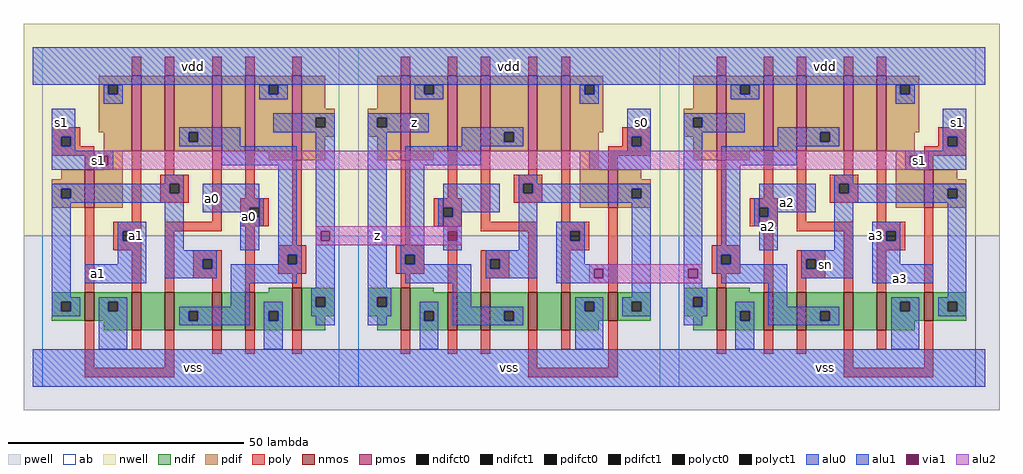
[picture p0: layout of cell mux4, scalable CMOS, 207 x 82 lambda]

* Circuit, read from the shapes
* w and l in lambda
.subckt mux4 a0 a1 a2 a3 s0 s1 sn vdd vss z
M1 vss s1 n1 VSUBS nfet w=6 l=2
M2 n2 a1 vss VSUBS nfet w=8 l=2
M3 n3 s1 n2 VSUBS nfet w=8 l=2
M4 n4 n1 n3 VSUBS nfet w=8 l=2
M5 vss a0 n4 VSUBS nfet w=8 l=2
M6 n5 n3 vss VSUBS nfet w=9 l=2
M7 vss n6 z VSUBS nfet w=9 l=2
M8 n7 n5 vss VSUBS nfet w=8 l=2
M9 n6 n8 n7 VSUBS nfet w=8 l=2
M10 n9 s0 n6 VSUBS nfet w=8 l=2
M11 vss n10 n9 VSUBS nfet w=8 l=2
M12 n8 s0 vss VSUBS nfet w=6 l=2
M13 vss n11 n10 VSUBS nfet w=9 l=2
M14 n12 a2 vss VSUBS nfet w=8 l=2
M15 n11 sn n12 VSUBS nfet w=8 l=2
M16 n13 s1 n11 VSUBS nfet w=8 l=2
M17 vss a3 n13 VSUBS nfet w=8 l=2
M18 sn s1 vss VSUBS nfet w=6 l=2
M19 vdd s1 n1 n14 pfet w=8 l=2
M20 n15 a1 vdd n14 pfet w=16 l=2
M21 n3 n1 n15 n14 pfet w=16 l=2
M22 n16 s1 n3 n14 pfet w=16 l=2
M23 vdd a0 n16 n14 pfet w=16 l=2
M24 n5 n3 vdd n14 pfet w=18 l=2
M25 vdd n6 z n14 pfet w=18 l=2
M26 n17 n5 vdd n14 pfet w=16 l=2
M27 n6 s0 n17 n14 pfet w=16 l=2
M28 n18 n8 n6 n14 pfet w=16 l=2
M29 vdd n10 n18 n14 pfet w=16 l=2
M30 n8 s0 vdd n14 pfet w=8 l=2
M31 vdd n11 n10 n14 pfet w=18 l=2
M32 n19 a2 vdd n14 pfet w=16 l=2
M33 n11 s1 n19 n14 pfet w=16 l=2
M34 n20 sn n11 n14 pfet w=16 l=2
M35 vdd a3 n20 n14 pfet w=16 l=2
M36 sn s1 vdd n14 pfet w=8 l=2
.ends

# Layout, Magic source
magic
tech scmos
<< ab >>
rect -63 5 0 77
rect 4 5 68 77
rect 72 5 135 77
<< nwell >>
rect -67 37 140 82
<< pwell >>
rect -67 0 140 37
<< poly >>
rect -44 71 -42 75
rect -37 71 -35 75
rect -27 71 -25 75
rect -20 71 -18 75
rect -10 71 -8 75
rect 13 71 15 75
rect 23 71 25 75
rect 30 71 32 75
rect 40 71 42 75
rect 47 71 49 75
rect 80 71 82 75
rect 90 71 92 75
rect 97 71 99 75
rect 107 71 109 75
rect 114 71 116 75
rect -61 58 -55 60
rect -61 56 -59 58
rect -57 56 -55 58
rect -61 54 -52 56
rect -54 51 -52 54
rect -54 25 -52 43
rect -44 40 -42 55
rect -37 50 -35 55
rect -38 48 -32 50
rect -38 46 -36 48
rect -34 46 -32 48
rect -38 44 -32 46
rect -27 40 -25 55
rect -20 45 -18 55
rect 60 58 66 60
rect 60 56 62 58
rect 64 56 66 58
rect -48 38 -42 40
rect -48 36 -46 38
rect -44 36 -42 38
rect -48 34 -42 36
rect -44 25 -42 34
rect -37 38 -25 40
rect -21 43 -15 45
rect -21 41 -19 43
rect -17 41 -15 43
rect -21 39 -15 41
rect -37 25 -35 38
rect -31 32 -25 34
rect -31 30 -29 32
rect -27 30 -25 32
rect -31 28 -25 30
rect -27 25 -25 28
rect -20 25 -18 39
rect -10 35 -8 53
rect 13 35 15 53
rect 23 45 25 55
rect 20 43 26 45
rect 20 41 22 43
rect 24 41 26 43
rect 20 39 26 41
rect 30 40 32 55
rect 40 50 42 55
rect 37 48 43 50
rect 37 46 39 48
rect 41 46 43 48
rect 37 44 43 46
rect 47 40 49 55
rect 57 54 66 56
rect 57 51 59 54
rect 127 58 133 60
rect 127 56 129 58
rect 131 56 133 58
rect -13 33 -7 35
rect -13 31 -11 33
rect -9 31 -7 33
rect -13 29 -7 31
rect 12 33 18 35
rect 12 31 14 33
rect 16 31 18 33
rect 12 29 18 31
rect -10 26 -8 29
rect 13 26 15 29
rect -54 9 -52 19
rect 23 25 25 39
rect 30 38 42 40
rect 30 32 36 34
rect 30 30 32 32
rect 34 30 36 32
rect 30 28 36 30
rect 30 25 32 28
rect 40 25 42 38
rect 47 38 53 40
rect 47 36 49 38
rect 51 36 53 38
rect 47 34 53 36
rect 47 25 49 34
rect 57 25 59 43
rect 80 35 82 53
rect 90 45 92 55
rect 87 43 93 45
rect 87 41 89 43
rect 91 41 93 43
rect 87 39 93 41
rect 97 40 99 55
rect 107 50 109 55
rect 104 48 110 50
rect 104 46 106 48
rect 108 46 110 48
rect 104 44 110 46
rect 114 40 116 55
rect 124 54 133 56
rect 124 51 126 54
rect 79 33 85 35
rect 79 31 81 33
rect 83 31 85 33
rect 79 29 85 31
rect 80 26 82 29
rect -44 13 -42 17
rect -37 9 -35 17
rect -27 12 -25 17
rect -20 12 -18 17
rect -10 12 -8 17
rect 13 12 15 17
rect 23 12 25 17
rect 30 12 32 17
rect -54 7 -35 9
rect 40 9 42 17
rect 47 13 49 17
rect 57 9 59 19
rect 90 25 92 39
rect 97 38 109 40
rect 97 32 103 34
rect 97 30 99 32
rect 101 30 103 32
rect 97 28 103 30
rect 97 25 99 28
rect 107 25 109 38
rect 114 38 120 40
rect 114 36 116 38
rect 118 36 120 38
rect 114 34 120 36
rect 114 25 116 34
rect 124 25 126 43
rect 80 12 82 17
rect 90 12 92 17
rect 97 12 99 17
rect 40 7 59 9
rect 107 9 109 17
rect 114 13 116 17
rect 124 9 126 19
rect 107 7 126 9
<< ndif >>
rect -15 25 -10 26
rect -61 23 -54 25
rect -61 21 -59 23
rect -57 21 -54 23
rect -61 19 -54 21
rect -52 23 -44 25
rect -52 21 -49 23
rect -47 21 -44 23
rect -52 19 -44 21
rect -50 17 -44 19
rect -42 17 -37 25
rect -35 21 -27 25
rect -35 19 -32 21
rect -30 19 -27 21
rect -35 17 -27 19
rect -25 17 -20 25
rect -18 21 -10 25
rect -18 19 -15 21
rect -13 19 -10 21
rect -18 17 -10 19
rect -8 24 -1 26
rect -8 22 -5 24
rect -3 22 -1 24
rect -8 20 -1 22
rect 6 24 13 26
rect 6 22 8 24
rect 10 22 13 24
rect 6 20 13 22
rect -8 17 -3 20
rect 8 17 13 20
rect 15 25 20 26
rect 15 21 23 25
rect 15 19 18 21
rect 20 19 23 21
rect 15 17 23 19
rect 25 17 30 25
rect 32 21 40 25
rect 32 19 35 21
rect 37 19 40 21
rect 32 17 40 19
rect 42 17 47 25
rect 49 23 57 25
rect 49 21 52 23
rect 54 21 57 23
rect 49 19 57 21
rect 59 23 66 25
rect 59 21 62 23
rect 64 21 66 23
rect 59 19 66 21
rect 73 24 80 26
rect 73 22 75 24
rect 77 22 80 24
rect 73 20 80 22
rect 49 17 55 19
rect 75 17 80 20
rect 82 25 87 26
rect 82 21 90 25
rect 82 19 85 21
rect 87 19 90 21
rect 82 17 90 19
rect 92 17 97 25
rect 99 21 107 25
rect 99 19 102 21
rect 104 19 107 21
rect 99 17 107 19
rect 109 17 114 25
rect 116 23 124 25
rect 116 21 119 23
rect 121 21 124 23
rect 116 19 124 21
rect 126 23 133 25
rect 126 21 129 23
rect 131 21 133 23
rect 126 19 133 21
rect 116 17 122 19
<< pdif >>
rect -51 69 -44 71
rect -51 67 -49 69
rect -47 67 -44 69
rect -51 59 -44 67
rect -50 55 -44 59
rect -42 55 -37 71
rect -35 59 -27 71
rect -35 57 -32 59
rect -30 57 -27 59
rect -35 55 -27 57
rect -25 55 -20 71
rect -18 69 -10 71
rect -18 67 -15 69
rect -13 67 -10 69
rect -18 55 -10 67
rect -50 51 -46 55
rect -59 49 -54 51
rect -61 47 -54 49
rect -61 45 -59 47
rect -57 45 -54 47
rect -61 43 -54 45
rect -52 43 -46 51
rect -15 53 -10 55
rect -8 64 -3 71
rect 8 64 13 71
rect -8 62 -1 64
rect -8 60 -5 62
rect -3 60 -1 62
rect -8 58 -1 60
rect 6 62 13 64
rect 6 60 8 62
rect 10 60 13 62
rect 6 58 13 60
rect -8 53 -3 58
rect 8 53 13 58
rect 15 69 23 71
rect 15 67 18 69
rect 20 67 23 69
rect 15 55 23 67
rect 25 55 30 71
rect 32 59 40 71
rect 32 57 35 59
rect 37 57 40 59
rect 32 55 40 57
rect 42 55 47 71
rect 49 69 56 71
rect 49 67 52 69
rect 54 67 56 69
rect 49 59 56 67
rect 75 64 80 71
rect 73 62 80 64
rect 73 60 75 62
rect 77 60 80 62
rect 49 55 55 59
rect 73 58 80 60
rect 15 53 20 55
rect 51 51 55 55
rect 75 53 80 58
rect 82 69 90 71
rect 82 67 85 69
rect 87 67 90 69
rect 82 55 90 67
rect 92 55 97 71
rect 99 59 107 71
rect 99 57 102 59
rect 104 57 107 59
rect 99 55 107 57
rect 109 55 114 71
rect 116 69 123 71
rect 116 67 119 69
rect 121 67 123 69
rect 116 59 123 67
rect 116 55 122 59
rect 82 53 87 55
rect 51 43 57 51
rect 59 49 64 51
rect 59 47 66 49
rect 59 45 62 47
rect 64 45 66 47
rect 59 43 66 45
rect 118 51 122 55
rect 118 43 124 51
rect 126 49 131 51
rect 126 47 133 49
rect 126 45 129 47
rect 131 45 133 47
rect 126 43 133 45
<< alu1 >>
rect -65 69 137 77
rect -61 58 -56 64
rect -14 62 -1 63
rect -14 60 -5 62
rect -3 60 -1 62
rect -61 56 -59 58
rect -57 56 -56 58
rect -14 59 -1 60
rect -61 55 -56 56
rect -61 54 -48 55
rect -61 52 -51 54
rect -49 52 -48 54
rect -61 51 -48 52
rect -47 38 -41 40
rect -47 36 -46 38
rect -44 36 -41 38
rect -47 31 -41 36
rect -54 27 -41 31
rect -29 43 -17 48
rect -29 42 -19 43
rect -21 41 -19 42
rect -21 34 -17 41
rect -5 38 -1 59
rect -5 36 -4 38
rect -2 36 -1 38
rect -5 26 -1 36
rect -6 24 -1 26
rect -6 22 -5 24
rect -3 22 -1 24
rect -6 20 -1 22
rect -5 18 -1 20
rect 6 62 19 63
rect 6 60 8 62
rect 10 60 19 62
rect 6 59 19 60
rect 6 26 10 59
rect 61 58 66 64
rect 61 56 62 58
rect 64 56 66 58
rect 61 55 66 56
rect 53 51 66 55
rect 73 62 86 63
rect 73 60 75 62
rect 77 60 86 62
rect 73 59 86 60
rect 22 43 34 48
rect 24 42 34 43
rect 24 41 26 42
rect 22 38 26 41
rect 22 36 23 38
rect 25 36 26 38
rect 22 34 26 36
rect 46 38 52 40
rect 46 36 49 38
rect 51 36 52 38
rect 46 31 52 36
rect 46 30 59 31
rect 46 28 54 30
rect 56 28 59 30
rect 46 27 59 28
rect 6 24 11 26
rect 6 22 8 24
rect 10 22 11 24
rect 6 20 11 22
rect 6 18 10 20
rect 73 30 77 59
rect 128 58 133 64
rect 128 56 129 58
rect 131 56 133 58
rect 128 55 133 56
rect 120 54 133 55
rect 120 52 121 54
rect 123 52 133 54
rect 120 51 133 52
rect 89 43 101 48
rect 91 42 101 43
rect 91 41 93 42
rect 73 28 74 30
rect 76 28 77 30
rect 89 34 93 41
rect 73 26 77 28
rect 113 38 119 40
rect 113 36 116 38
rect 118 36 119 38
rect 113 31 119 36
rect 113 27 126 31
rect 73 24 78 26
rect 73 22 75 24
rect 77 22 78 24
rect 73 20 78 22
rect 73 18 77 20
rect -65 5 137 13
<< alu2 >>
rect -52 54 125 55
rect -52 52 -51 54
rect -49 52 121 54
rect 123 52 125 54
rect -52 51 125 52
rect -5 38 26 39
rect -5 36 -4 38
rect -2 36 23 38
rect 25 36 26 38
rect -5 35 26 36
rect 53 30 77 31
rect 53 28 54 30
rect 56 28 74 30
rect 76 28 77 30
rect 53 27 77 28
<< nmos >>
rect -54 19 -52 25
rect -44 17 -42 25
rect -37 17 -35 25
rect -27 17 -25 25
rect -20 17 -18 25
rect -10 17 -8 26
rect 13 17 15 26
rect 23 17 25 25
rect 30 17 32 25
rect 40 17 42 25
rect 47 17 49 25
rect 57 19 59 25
rect 80 17 82 26
rect 90 17 92 25
rect 97 17 99 25
rect 107 17 109 25
rect 114 17 116 25
rect 124 19 126 25
<< pmos >>
rect -44 55 -42 71
rect -37 55 -35 71
rect -27 55 -25 71
rect -20 55 -18 71
rect -54 43 -52 51
rect -10 53 -8 71
rect 13 53 15 71
rect 23 55 25 71
rect 30 55 32 71
rect 40 55 42 71
rect 47 55 49 71
rect 80 53 82 71
rect 90 55 92 71
rect 97 55 99 71
rect 107 55 109 71
rect 114 55 116 71
rect 57 43 59 51
rect 124 43 126 51
<< polyct0 >>
rect -36 46 -34 48
rect -29 30 -27 32
rect 39 46 41 48
rect -11 31 -9 33
rect 14 31 16 33
rect 32 30 34 32
rect 106 46 108 48
rect 81 31 83 33
rect 99 30 101 32
<< polyct1 >>
rect -59 56 -57 58
rect 62 56 64 58
rect -46 36 -44 38
rect -19 41 -17 43
rect 22 41 24 43
rect 129 56 131 58
rect 49 36 51 38
rect 89 41 91 43
rect 116 36 118 38
<< ndifct0 >>
rect -59 21 -57 23
rect -49 21 -47 23
rect -32 19 -30 21
rect -15 19 -13 21
rect 18 19 20 21
rect 35 19 37 21
rect 52 21 54 23
rect 62 21 64 23
rect 85 19 87 21
rect 102 19 104 21
rect 119 21 121 23
rect 129 21 131 23
<< ndifct1 >>
rect -5 22 -3 24
rect 8 22 10 24
rect 75 22 77 24
<< pdifct0 >>
rect -49 67 -47 69
rect -32 57 -30 59
rect -15 67 -13 69
rect -59 45 -57 47
rect 18 67 20 69
rect 35 57 37 59
rect 52 67 54 69
rect 85 67 87 69
rect 102 57 104 59
rect 119 67 121 69
rect 62 45 64 47
rect 129 45 131 47
<< pdifct1 >>
rect -5 60 -3 62
rect 8 60 10 62
rect 75 60 77 62
<< alu0 >>
rect -50 67 -49 69
rect -47 67 -46 69
rect -50 65 -46 67
rect -17 67 -15 69
rect -13 67 -11 69
rect -17 66 -11 67
rect 16 67 18 69
rect 20 67 22 69
rect 16 66 22 67
rect 51 67 52 69
rect 54 67 55 69
rect 51 65 55 67
rect 83 67 85 69
rect 87 67 89 69
rect 83 66 89 67
rect 118 67 119 69
rect 121 67 122 69
rect 118 65 122 67
rect -34 59 -21 60
rect -34 57 -32 59
rect -30 57 -21 59
rect -34 56 -21 57
rect -25 52 -9 56
rect -37 48 -33 50
rect -61 47 -36 48
rect -61 45 -59 47
rect -57 46 -36 47
rect -34 46 -33 48
rect -57 45 -33 46
rect -61 44 -33 45
rect -61 24 -57 44
rect -37 34 -33 44
rect -17 39 -16 45
rect -13 35 -9 52
rect -37 32 -26 34
rect -37 30 -29 32
rect -27 30 -26 32
rect -13 33 -8 35
rect -13 31 -11 33
rect -9 31 -8 33
rect -37 28 -26 30
rect -23 29 -8 31
rect -23 27 -9 29
rect -61 23 -55 24
rect -61 21 -59 23
rect -57 21 -55 23
rect -61 20 -55 21
rect -51 23 -45 24
rect -51 21 -49 23
rect -47 21 -45 23
rect -23 22 -19 27
rect -51 13 -45 21
rect -34 21 -19 22
rect -34 19 -32 21
rect -30 19 -19 21
rect -34 18 -19 19
rect -16 21 -12 23
rect -16 19 -15 21
rect -13 19 -12 21
rect -16 13 -12 19
rect 26 59 39 60
rect 26 57 35 59
rect 37 57 39 59
rect 26 56 39 57
rect 14 52 30 56
rect 14 35 18 52
rect 93 59 106 60
rect 38 48 42 50
rect 21 39 22 45
rect 38 46 39 48
rect 41 47 66 48
rect 41 46 62 47
rect 38 45 62 46
rect 64 45 66 47
rect 38 44 66 45
rect 13 33 18 35
rect 38 34 42 44
rect 13 31 14 33
rect 16 31 18 33
rect 31 32 42 34
rect 13 29 28 31
rect 14 27 28 29
rect 31 30 32 32
rect 34 30 42 32
rect 31 28 42 30
rect 17 21 21 23
rect 17 19 18 21
rect 20 19 21 21
rect 17 13 21 19
rect 24 22 28 27
rect 62 24 66 44
rect 50 23 56 24
rect 24 21 39 22
rect 24 19 35 21
rect 37 19 39 21
rect 24 18 39 19
rect 50 21 52 23
rect 54 21 56 23
rect 50 13 56 21
rect 60 23 66 24
rect 60 21 62 23
rect 64 21 66 23
rect 60 20 66 21
rect 93 57 102 59
rect 104 57 106 59
rect 93 56 106 57
rect 81 52 97 56
rect 81 35 85 52
rect 105 48 109 50
rect 88 39 89 45
rect 105 46 106 48
rect 108 47 133 48
rect 108 46 129 47
rect 105 45 129 46
rect 131 45 133 47
rect 105 44 133 45
rect 80 33 85 35
rect 105 34 109 44
rect 80 31 81 33
rect 83 31 85 33
rect 98 32 109 34
rect 80 29 95 31
rect 81 27 95 29
rect 98 30 99 32
rect 101 30 109 32
rect 98 28 109 30
rect 84 21 88 23
rect 84 19 85 21
rect 87 19 88 21
rect 84 13 88 19
rect 91 22 95 27
rect 129 24 133 44
rect 117 23 123 24
rect 91 21 106 22
rect 91 19 102 21
rect 104 19 106 21
rect 91 18 106 19
rect 117 21 119 23
rect 121 21 123 23
rect 117 13 123 21
rect 127 23 133 24
rect 127 21 129 23
rect 131 21 133 23
rect 127 20 133 21
<< via1 >>
rect -51 52 -49 54
rect -4 36 -2 38
rect 23 36 25 38
rect 54 28 56 30
rect 121 52 123 54
rect 74 28 76 30
<< labels >>
rlabel alu1 8 37 8 37 6 z
rlabel alu1 16 61 16 61 6 z
rlabel alu1 36 9 36 9 6 vss
rlabel alu1 36 73 36 73 6 vdd
rlabel alu1 -27 45 -27 45 4 a0
rlabel alu1 -19 41 -19 41 4 a0
rlabel alu1 -31 9 -31 9 4 vss
rlabel alu1 -43 37 -43 37 4 a1
rlabel alu1 -31 73 -31 73 4 vdd
rlabel alu1 -51 29 -51 29 4 a1
rlabel alu0 103 31 103 31 6 sn
rlabel alu1 103 9 103 9 6 vss
rlabel alu1 103 73 103 73 6 vdd
rlabel alu1 95 44 95 44 1 a2
rlabel alu1 91 39 91 39 1 a2
rlabel alu1 114 37 114 37 1 a3
rlabel alu1 119 28 119 28 1 a3
rlabel via1 123 53 123 53 1 s1
rlabel alu1 131 61 131 61 1 s1
rlabel via1 -51 53 -51 53 1 s1
rlabel alu1 -59 61 -59 61 1 s1
rlabel alu1 64 61 64 61 1 s0
<< end >>
